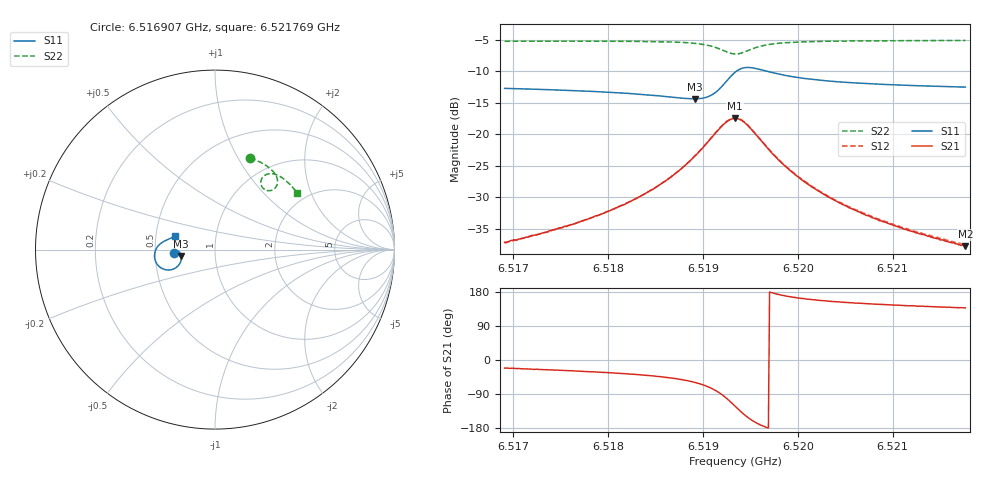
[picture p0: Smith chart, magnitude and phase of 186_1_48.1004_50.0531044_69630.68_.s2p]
#  HZ  S  RI  R  50.00
! Rohde & Schwarz Vector Network Analyzer
! Rohde-Schwarz,ZNB20-2Port,1311601062101988,3.16
! Created: UTC 12/23/2023, 3:53:16 AM
! freq[Hz]  re:S11  im:S11  re:S21  im:S21  re:S12  im:S12  re:S22  im:S22
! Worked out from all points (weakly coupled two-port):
!   401 points, 6.516907 GHz to 6.521769 GHz, reference 50 ohm
!   highest |S21| = -17.46 dB at 6.519338 GHz (marker M1); lowest = -37.7 dB at 6.521769 GHz (marker M2)
!   lowest |S11| = -14.4 dB at 6.518912 GHz (marker M3), VSWR 1.47, Z = 34.1 - j2.48 ohm
!   |S11| at or under -10 dB: start of sweep to 6.519351 GHz; 6.51968 GHz to end of sweep
!   |S22| runs from -7.3 to -5.1 dB; largest |S21 - S12| = 0.0043
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6.516907e9  -0.2309 -0.0189  0.013 -0.00508  0.013 -0.00461  0.1967 0.5114
6.5172595e9  -0.2272 -0.0135  0.0147 -0.00671  0.0148 -0.00624  0.2228 0.5012
6.5177213e9  -0.2209 -0.00781  0.0179 -0.0101  0.0182 -0.00962  0.2569 0.4847
6.518171e9  -0.2123 -0.00543  0.0224 -0.0163  0.0231 -0.0157  0.2907 0.4639
6.5185356e9  -0.2017 -0.00957  0.0286 -0.0272  0.0295 -0.0264  0.319 0.4407
6.5187423e9  -0.1941 -0.0187  0.0326 -0.0393  0.0341 -0.0385  0.3348 0.4216
6.5189124e9  -0.188 -0.035  0.0345 -0.0575  0.0365 -0.0566  0.3459 0.3985
6.5190218e9  -0.1878 -0.054  0.0313 -0.0759  0.0337 -0.0753  0.3486 0.3775
6.5191069e9  -0.1947 -0.075  0.022 -0.0949  0.0251 -0.0948  0.3442 0.3576
6.5192406e9  -0.2358 -0.1099  -0.0203 -0.1224  -0.0167 -0.1242  0.3127 0.3296
6.5193378e9  -0.2918 -0.1065  -0.0702 -0.114  -0.0674 -0.1169  0.2743 0.3362
6.5193864e9  -0.316 -0.0887  -0.0901 -0.0959  -0.0878 -0.0992  0.2607 0.3515
6.5194472e9  -0.3337 -0.0583  -0.1022 -0.0676  -0.101 -0.071  0.2553 0.3749
6.5195444e9  -0.3346 -0.0138  -0.0982 -0.0294  -0.0981 -0.0324  0.267 0.4043
6.5196538e9  -0.3195 0.0172  -0.0818 -0.00532  -0.0823 -0.0077  0.2894 0.4195
6.5198847e9  -0.2888 0.0437  -0.0532 0.011  -0.0541 0.00942  0.3287 0.4212
6.5201521e9  -0.2676 0.0539  -0.0355 0.0135  -0.0365 0.0127  0.3593 0.4092
6.5203709e9  -0.2567 0.0584  -0.0274 0.0131  -0.0282 0.0125  0.378 0.3972
6.5205654e9  -0.2494 0.0618  -0.0225 0.0124  -0.0233 0.012  0.3925 0.386
6.5209664e9  -0.2385 0.0675  -0.0161 0.011  -0.0167 0.0108  0.4179 0.3625
6.5212581e9  -0.2325 0.0716  -0.013 0.0103  -0.0135 0.00995  0.4341 0.3448
6.5217686e9  -0.2237 0.0786  -0.00954 0.00879  -0.00999 0.00868  0.4595 0.3132
